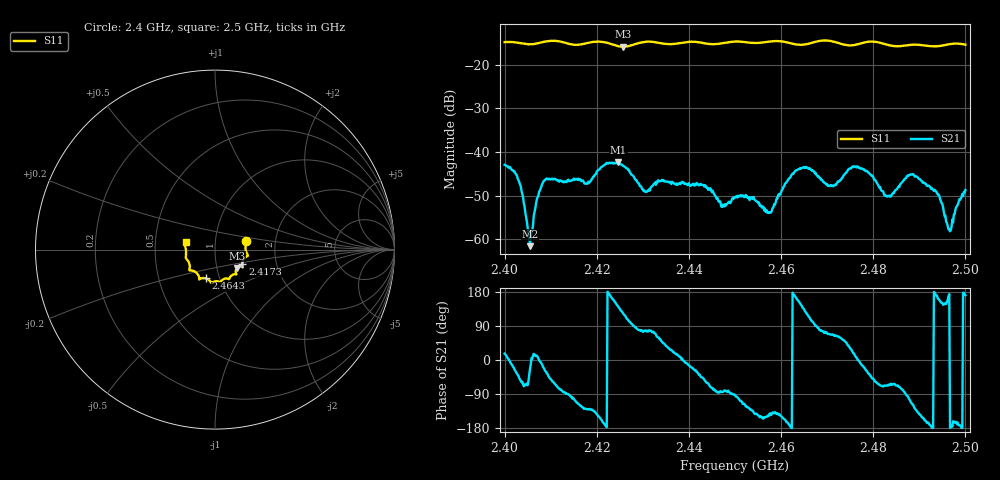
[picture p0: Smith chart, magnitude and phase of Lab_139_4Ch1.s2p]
# Hz S RI R 50
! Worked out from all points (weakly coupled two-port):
!   601 points, 2.4 GHz to 2.5 GHz, reference 50 ohm
!   highest |S21| = -42.40 dB at 2.4247 GHz (marker M1); lowest = -61.5 dB at 2.4055 GHz (marker M2)
!   lowest |S11| = -15.9 dB at 2.4257 GHz (marker M3), VSWR 1.38, Z = 62.4 - j13.1 ohm
!   |S11| at or under -10 dB: start of sweep to end of sweep
!   S12 and S22 are empty: the file has one direction only
!   S11 on the Smith chart (normalised r, x): 2.4 GHz: 1.41, +0.15; 2.4173 GHz: 1.34, -0.23; 2.4643 GHz: 0.86, -0.28; 2.5 GHz: 0.72, +0.06
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2.4e9  0.1733 0.0497  0.00683 0.00205  0 0  0 0
2.403e9  0.1736 0.0348  0.00356 -0.00318  0 0  0 0
2.4055e9  0.17 0.00716  0.000762 -0.000345  0 0  0 0
2.408667e9  0.1806 -0.0262  0.00427 -0.00199  0 0  0 0
2.416667e9  0.1529 -0.0746  -0.00246 -0.00392  0 0  0 0
2.417333e9  0.1524 -0.082  -0.00272 -0.0034  0 0  0 0
2.424667e9  0.1304 -0.0962  -0.00586 0.00481  0 0  0 0
2.425667e9  0.1225 -0.1023  -0.00394 0.00572  0 0  0 0
2.430333e9  0.1187 -0.1369  0.0008 0.00352  0 0  0 0
2.433333e9  0.1129 -0.137  0.00241 0.00408  0 0  0 0
2.4475e9  0.0376 -0.1719  0.000279 -0.00237  0 0  0 0
2.45e9  0.0295 -0.1808  -0.00013 -0.003  0 0  0 0
2.4575e9  -0.0164 -0.1824  -0.00161 -0.00127  0 0  0 0
2.464333e9  -0.0504 -0.1604  -0.00533 0.00365  0 0  0 0
2.466667e9  -0.0762 -0.1596  -0.00127 0.00598  0 0  0 0
2.470833e9  -0.0869 -0.1639  0.00167 0.00385  0 0  0 0
2.477e9  -0.1269 -0.1168  0.00659 -0.000447  0 0  0 0
2.483333e9  -0.1408 -0.0894  0.00131 -0.00283  0 0  0 0
2.489e9  -0.1624 -0.0462  -0.00318 -0.00414  0 0  0 0
2.493833e9  -0.1617 -0.0033  -0.00334 0.000599  0 0  0 0
2.4965e9  -0.1689 0.0234  -0.00129 0.00014  0 0  0 0
2.5e9  -0.1634 0.042  -0.00362 0.000594  0 0  0 0
